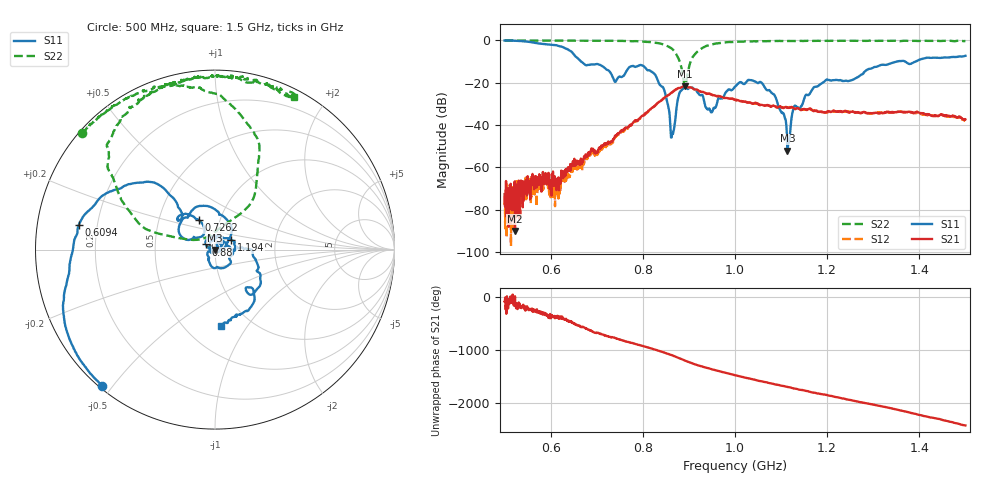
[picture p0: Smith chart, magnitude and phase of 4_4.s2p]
!Agilent Technologies,E8364B,US42250235,A.06.04.32
!Agilent E8364B: A.06.04.32
!Date: Friday, January 15, 2021 14:51:39
!Correction: S11(Full 2 Port(1,2)) S21(Full 2 Port(1,2)) S12(Full 2 Port(1,2)) S22(Full 2 Port(1,2))
!S2P File: Measurements: S11, S21, S12, S22:
# Hz S  dB  R 50
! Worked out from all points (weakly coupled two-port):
!   1601 points, 500 MHz to 1.5 GHz, reference 50 ohm
!   highest |S21| = -21.80 dB at 890.6 MHz (marker M1); lowest = -90.1 dB at 522.5 MHz (marker M2)
!   lowest |S11| = -52.2 dB at 1.114 GHz (marker M3), VSWR 1.00, Z = 49.9 - j0.236 ohm
!   |S11| at or under -10 dB: 665.3 MHz to 1.352 GHz (686.7 MHz wide, 68.1 % of centre); 1.369 GHz to 1.393 GHz (24.41 MHz wide, 1.77 % of centre)
!   |S22| runs from -21.5 to -0.1 dB; largest |S21 - S12| = 0.0031
!   S11 on the Smith chart (normalised r, x): 500 MHz: 0.01, -0.47; 609.4 MHz: 0.13, +0.09; 726.2 MHz: 0.79, +0.27; 880 MHz: 0.90, +0.05; 1.194 GHz: 1.19, +0.13; 1.5 GHz: 0.73, -0.77
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5e8  -0.14 -129.7  -72.65 -87.8  -77.92 -25.8  -0.13 138.7
5.225e8  -0.25 -140.6  -90.07 13.4  -69.04 -98.3  -0.13 136.2
6.09375e8  -2.26 169.6  -66.38 -42.5  -78.43 -7.6  -0.17 127.6
6.66875e8  -10.20 131.1  -58.61 153.1  -60.59 145.5  -0.19 121.8
7.2625e8  -14.43 118.8  -48.27 -27.4  -48.91 -30.0  -0.25 114.1
7.975e8  -11.84 108.2  -35.82 158.1  -36.22 157.8  -0.62 101.1
8.3375e8  -19.79 37.0  -29.41 63.4  -29.40 64.4  -1.39 87.3
8.4875e8  -25.43 11.5  -26.85 20.5  -27.02 21.4  -2.31 79.4
8.64375e8  -44.08 155.6  -24.41 -27.1  -24.55 -25.0  -4.24 66.2
8.8e8  -24.68 150.8  -22.58 -82.5  -22.62 -80.5  -10.04 52.3
8.90625e8  -22.43 118.2  -21.80 -120.8  -21.86 -119.2  -21.29 107.2
9.10625e8  -23.00 68.5  -23.13 172.0  -23.06 173.5  -7.22 161.8
9.46875e8  -33.39 25.2  -25.46 76.8  -25.47 80.0  -2.21 140.0
1e9  -22.01 14.0  -28.21 -42.2  -28.10 -40.1  -0.76 121.2
1.058125e9  -20.17 -99.6  -30.57 -158.6  -30.71 -157.0  -0.46 112.5
1.086875e9  -26.44 -152.5  -31.20 144.4  -31.36 148.0  -0.39 106.9
1.11375e9  -52.21 -105.4  -31.84 95.9  -31.89 99.5  -0.38 104.7
1.12875e9  -31.08 -138.9  -32.41 65.5  -31.99 68.8  -0.40 102.8
1.166875e9  -23.53 83.0  -32.98 -7.6  -32.87 -3.0  -0.34 97.8
1.19375e9  -19.58 30.7  -34.11 -49.9  -34.06 -48.1  -0.28 95.2
1.33375e9  -11.21 -27.5  -33.91 60.3  -34.14 59.8  -0.31 79.8
1.5e9  -7.36 -85.2  -37.40 86.7  -38.11 83.9  -0.37 62.7
